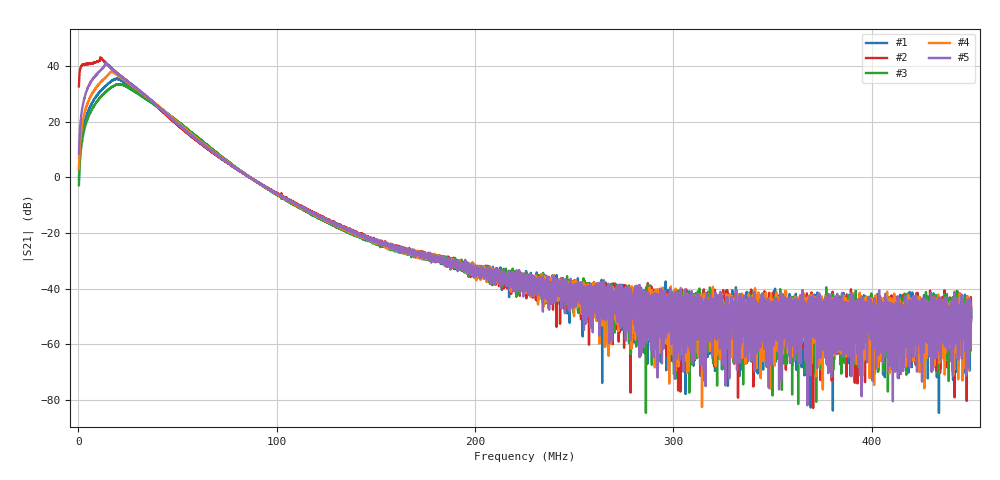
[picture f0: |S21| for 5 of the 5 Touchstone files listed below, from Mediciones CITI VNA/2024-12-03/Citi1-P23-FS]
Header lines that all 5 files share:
# Hz S DB R 50
! CMT, M5065, 19127446, 24.2.4/2
! Data: Format (Calibration Info)
! Freq	S11:dB/Ang(F2)	S21:dB/Ang(F2)	S12:dB/Ang(F2)	S22:dB/Ang(F2)
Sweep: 300 kHz to 450 MHz
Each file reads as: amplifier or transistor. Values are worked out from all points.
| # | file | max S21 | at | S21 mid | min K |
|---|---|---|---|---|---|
| 1 | gain15.s2p | 35.4 dB | 19.34 MHz | -36.6 dB at 225.2 MHz | 1.02 |
| 2 | gain63.s2p | 43.1 dB | 11.09 MHz | -39.9 dB at 225.2 MHz | 0.89 |
| 3 | ganancia_0.s2p | 33.5 dB | 21.14 MHz | -36.5 dB at 225.2 MHz | 1.14 |
| 4 | ganancia_31.s2p | 38.0 dB | 16.74 MHz | -37.9 dB at 225.2 MHz | 0.95 |
| 5 | ganancia_47.s2p | 41.0 dB | 13.49 MHz | -34.2 dB at 225.2 MHz | 0.89 |
